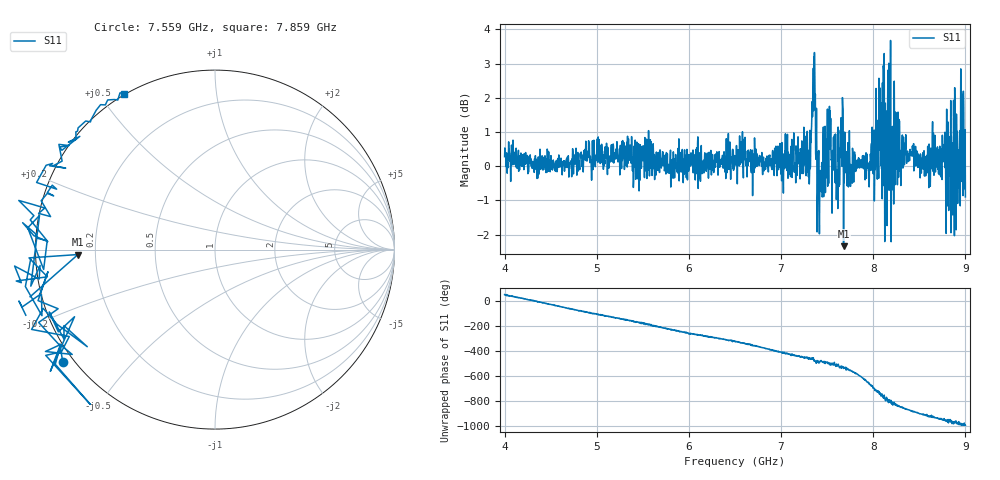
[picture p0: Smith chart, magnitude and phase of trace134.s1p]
! Created with skrf 1.8.0 (http://scikit-rf.org).
# Hz S RI R 50.0
!freq ReS11 ImS11
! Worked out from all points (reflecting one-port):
!   1601 points, 4 GHz to 9 GHz, reference 50 ohm
!   lowest |S11| = -2.3 dB at 7.678 GHz (marker M1), VSWR 7.47, Z = 6.69 - j0.884 ohm
!   phase of S11 starts at 54 deg and turns -1047 deg over the sweep
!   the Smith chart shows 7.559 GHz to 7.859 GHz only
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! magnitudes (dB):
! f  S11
! 4 GHz  0.3
! 4.625 GHz  -0.3
! 5.25 GHz  -0.3
! 5.875 GHz  -0.1
! 6.5 GHz  0.3
! 7.125 GHz  0.6
! 7.297 GHz  -0.3
! 7.316 GHz  -0.1
! 7.347 GHz  2.2
! 7.362 GHz  3.3
! 7.412 GHz  -0.9
! 7.512 GHz  0.4
! 7.612 GHz  -0.1
! 7.647 GHz  1.0
! 7.678 GHz  -2.3
! 7.75 GHz  0.0
! 7.95 GHz  -0.1
! 8.088 GHz  0.7
! 8.147 GHz  1.1
! 8.162 GHz  -0.3
! 8.216 GHz  1.1
! 8.253 GHz  0.5
! 8.375 GHz  0.3
! 8.594 GHz  0.1
! 8.753 GHz  0.3
! 8.856 GHz  0.3
! 8.959 GHz  2.1
! 9 GHz  -0.9
